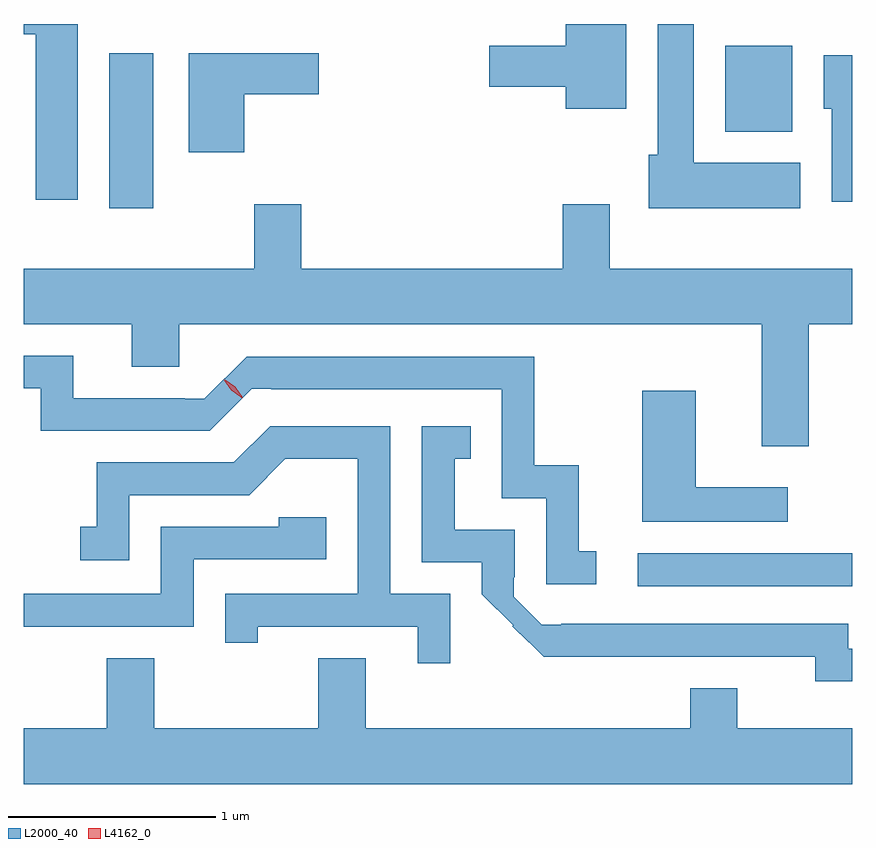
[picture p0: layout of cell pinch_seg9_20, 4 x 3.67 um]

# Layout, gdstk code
import gdstk
lib = gdstk.Library(unit=1e-6, precision=1e-09)
def R(c, l, rs):  # rectangles x0, y0, x1, y1
    for r in rs: c.add(gdstk.rectangle(r[:2], r[2:], *l))
def P(c, l, *ps):  # polygons
    for p in ps: c.add(gdstk.Polygon(p, *l))
L2000_40 = (2000, 40)
L4162_0 = (4162, 0)

pinch_seg9_20 = lib.new_cell('pinch_seg9_20')
R(pinch_seg9_20, L2000_40, [(861.263,2043.831,862.299,2043.989), (858.711,2045.656,858.924,2046.404), (861.686,2046.026,862.009,2046.439)])
P(pinch_seg9_20, L2000_40, [(858.559,2046.545),(858.299,2046.545),(858.299,2046.496),(858.356,2046.496),(858.356,2045.696),(858.559,2045.696)],
  [(862.049,2045.874),(861.534,2045.874),(861.534,2046.545),(861.361,2046.545),(861.361,2045.914),(861.316,2045.914),(861.316,2045.656),(862.049,2045.656)],
  [(861.209,2046.545),(860.916,2046.545),(860.916,2046.439),(860.546,2046.439),(860.546,2046.241),(860.916,2046.241),(860.916,2046.136),(861.209,2046.136)],
  [(859.364,2046.206),(859.724,2046.206),(859.724,2046.404),(859.096,2046.404),(859.096,2045.926),(859.364,2045.926)],
  [(862.299,2046.394),(862.161,2046.394),(862.161,2046.136),(862.201,2046.136),(862.201,2045.686),(862.299,2045.686)],
  [(862.089,2045.096),(862.299,2045.096),(862.299,2045.364),(861.129,2045.364),(861.129,2045.674),(860.901,2045.674),(860.901,2045.364),(859.639,2045.364),(859.639,2045.674),(859.411,2045.674),(859.411,2045.364),(858.299,2045.364),(858.299,2045.096),(858.821,2045.096),(858.821,2044.891),(859.049,2044.891),(859.049,2045.096),(861.861,2045.096),(861.861,2044.506),(862.089,2044.506)],
  [(861.063,2043.999),(860.979,2043.999),(860.979,2044.414),(860.764,2044.414),(860.764,2044.939),(859.375,2044.939),(859.171,2044.735),(859.076,2044.735),(859.076,2044.739),(858.539,2044.739),(858.539,2044.944),(858.299,2044.944),(858.299,2044.786),(858.381,2044.786),(858.381,2044.581),(859.197,2044.581),(859.401,2044.785),(859.495,2044.785),(859.495,2044.781),(860.606,2044.781),(860.606,2044.256),(860.821,2044.256),(860.821,2043.841),(861.063,2043.841)],
  [(861.988,2044.309),(861.544,2044.309),(861.544,2044.774),(861.286,2044.774),(861.286,2044.141),(861.988,2044.141)],
  [(862.299,2043.529),(862.279,2043.529),(862.279,2043.649),(860.895,2043.649),(860.895,2043.645),(860.801,2043.645),(860.665,2043.781),(860.665,2043.875),(860.669,2043.875),(860.669,2044.104),(860.379,2044.104),(860.379,2044.446),(860.458,2044.446),(860.458,2044.604),(860.221,2044.604),(860.221,2043.946),(860.511,2043.946),(860.511,2043.793),(860.662,2043.642),(860.658,2043.638),(860.737,2043.56),(860.739,2043.561),(860.809,2043.491),(862.121,2043.491),(862.121,2043.371),(862.299,2043.371)],
  [(860.359,2043.794),(860.069,2043.794),(860.069,2044.604),(859.489,2044.604),(859.314,2044.429),(858.651,2044.429),(858.651,2044.119),(858.573,2044.119),(858.573,2043.956),(858.809,2043.956),(858.809,2044.271),(859.387,2044.271),(859.562,2044.446),(859.911,2044.446),(859.911,2043.794),(859.271,2043.794),(859.271,2043.558),(859.429,2043.558),(859.429,2043.636),(860.201,2043.636),(860.201,2043.458),(860.359,2043.458)],
  [(859.119,2043.961),(859.759,2043.961),(859.759,2044.164),(859.531,2044.164),(859.531,2044.119),(858.961,2044.119),(858.961,2043.794),(858.299,2043.794),(858.299,2043.636),(859.119,2043.636)],
  [(862.299,2043.144),(861.744,2043.144),(861.744,2043.339),(861.516,2043.339),(861.516,2043.144),(859.949,2043.144),(859.949,2043.484),(859.721,2043.484),(859.721,2043.144),(858.929,2043.144),(858.929,2043.484),(858.701,2043.484),(858.701,2043.144),(858.299,2043.144),(858.299,2042.876),(862.299,2042.876)])
P(pinch_seg9_20, L4162_0, [(859.353,2044.739),(859.302,2044.776),(859.265,2044.827),(859.265,2044.828),(859.265,2044.828),(859.316,2044.79),(859.354,2044.74),(859.354,2044.739)],
  [(859.353,2044.744),(859.305,2044.779),(859.27,2044.827),(859.27,2044.828),(859.271,2044.828),(859.319,2044.793),(859.354,2044.745),(859.354,2044.744)])

lib.write_gds('pinch_seg9_20.gds')
